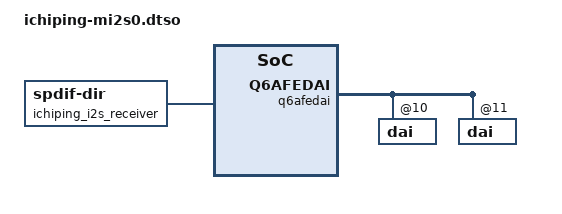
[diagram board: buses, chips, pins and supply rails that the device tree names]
// SPDX-License-Identifier: GPL-2.0-or-later OR MIT
/dts-v1/;
/plugin/;

/*
 * IchiPing external audio for Arduino UNO Q / QRB2210.
 *
 * Board signal name       LPASS LPI pinctrl name
 * GPIO98  MI2S0_CLK       gpio6 / i2s1_clk
 * GPIO99  MI2S0_WS        gpio7 / i2s1_ws
 * GPIO100 MI2S0_DATA0     gpio8 / i2s1_data (capture)
 * GPIO101 MI2S0_DATA1     gpio9 / i2s1_data (playback)
 */

/ {
	fragment@0 {
		target-path = "/";

		__overlay__ {
			ichiping_max98357a: ichiping-max98357a {
				compatible = "maxim,max98357a";
				#sound-dai-cells = <0>;
			};

			/* INMP441 has no control bus; use the kernel's capture-only stub DAI. */
			ichiping_i2s_receiver: ichiping-i2s-receiver {
				compatible = "linux,spdif-dir";
				#sound-dai-cells = <0>;
			};
		};
	};

	fragment@1 {
		target = <&lpass_tlmm>;

		__overlay__ {
			ichiping_mi2s0_active: ichiping-mi2s0-active-state {
				clk-pins {
					pins = "gpio6";
					function = "i2s1_clk";
					bias-disable;
					drive-strength = <8>;
					output-high;
				};

				ws-pins {
					pins = "gpio7";
					function = "i2s1_ws";
					bias-disable;
					drive-strength = <8>;
					output-high;
				};

				capture-data-pins {
					pins = "gpio8";
					function = "i2s1_data";
					/* INMP441 releases SD outside its 24-bit left slot. */
					bias-pull-down;
					input-enable;
				};

				playback-data-pins {
					pins = "gpio9";
					function = "i2s1_data";
					bias-disable;
					drive-strength = <8>;
					output-high;
				};
			};
		};
	};

	fragment@2 {
		target = <&q6afedai>;

		__overlay__ {
			#address-cells = <1>;
			#size-cells = <0>;

			dai@16 {
				reg = <16>; /* PRIMARY_MI2S_RX */
				qcom,sd-lines = <1>; /* GPIO101 / DATA1 */
			};

			dai@17 {
				reg = <17>; /* PRIMARY_MI2S_TX */
				qcom,sd-lines = <0>; /* GPIO100 / DATA0 */
			};
		};
	};

	fragment@3 {
		target-path = "/sound";

		__overlay__ {
			model = "Arduino-Imola-IchiPing-MI2S0";
			pinctrl-0 = <&lpi_i2s2_active &ichiping_mi2s0_active>;
			pinctrl-names = "default";

			/*
			 * fdtoverlay inserts new children before children in the base DTB.
			 * Keep DPCM frontends ahead of the new backends: qcom_snd_parse_of()
			 * preserves this order when it builds the card's dai_link array.
			 */
			ichiping-mi2s0-playback-dai-link {
				link-name = "IchiPing MI2S0 Playback";

				cpu {
					sound-dai = <&q6afedai 16>;
				};

				platform {
					sound-dai = <&q6routing>;
				};

				codec {
					sound-dai = <&ichiping_max98357a>;
				};
			};

			ichiping-mi2s0-capture-dai-link {
				link-name = "IchiPing MI2S0 Capture";

				cpu {
					sound-dai = <&q6afedai 17>;
				};

				platform {
					sound-dai = <&q6routing>;
				};

				codec {
					sound-dai = <&ichiping_i2s_receiver>;
				};
			};

			/* Declared in reverse: libfdt prepends overlay child nodes. */
			ichiping-mm4-dai-link {
				link-name = "MultiMedia4";
				cpu { sound-dai = <&q6asmdai 3>; };
			};

			ichiping-mm3-dai-link {
				link-name = "MultiMedia3";
				cpu { sound-dai = <&q6asmdai 2>; };
			};

			ichiping-mm2-dai-link {
				link-name = "MultiMedia2";
				cpu { sound-dai = <&q6asmdai 1>; };
			};

			ichiping-mm1-dai-link {
				link-name = "MultiMedia1";
				cpu { sound-dai = <&q6asmdai 0>; };
			};

			mm1-dai-link { status = "disabled"; };
			mm2-dai-link { status = "disabled"; };
			mm3-dai-link { status = "disabled"; };
			mm4-dai-link { status = "disabled"; };
		};
	};
};
